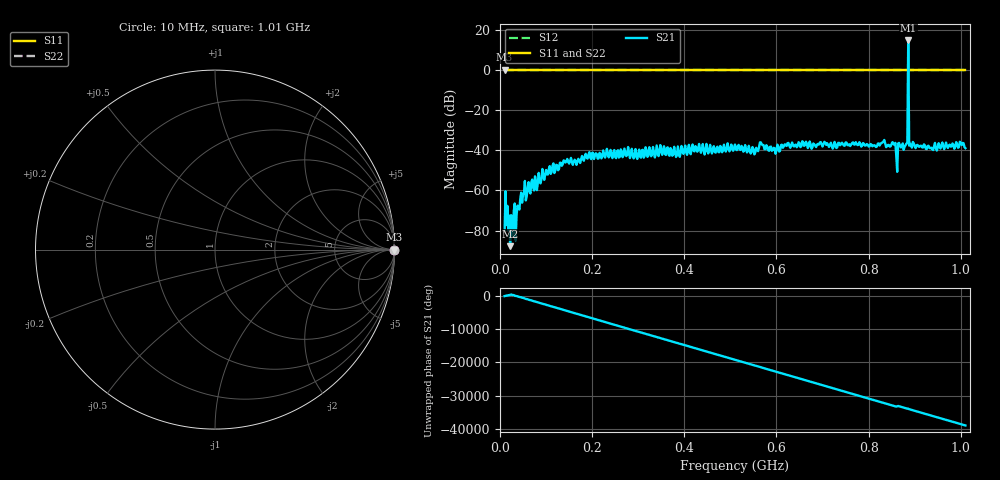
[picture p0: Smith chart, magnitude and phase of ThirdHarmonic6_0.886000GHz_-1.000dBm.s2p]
! 8/16/2025 5:09:26 AM
! C:\ANRITSUVNA\TEMP\TEMP.S2P
! CHANNEL.1
! TR.MEASUREMENT
! RAW.DATA
! RF.CORRECTION.OFF
! AVERAGING.OFF
! IF.BANDWIDTH: 5KHZ
! SWEEPTYPE:  FREQ.SWEEP(Linear)
! Reference Plane Port Info
! PORT:  PORT1  PORT2
! DISTANCE:  0  m  0  m
! TIME:  0  s  0  s
! PHASE.OFFSET:  0  deg.  0  deg.
! LOSS:  0  dB  0  dB
! REF.LOSS:  0  dB  0  dB
! REF.FREQ:  0  Hz  0  Hz
! Power Info
! POWER:  -20  dBm  -20  dBm
! EFF.POWER:  -20  dBm  -20  dBm
! SOURCE.ATTEN:  0  dB  0  dB
! TEST.ATTEN:  0  dB  0  dB
# GHZ S RI R 50.0
! FREQ.GHZ  S11RE  S11IM  S21RE  S21IM  S12RE  S12IM  S22RE  S22IM
!; PortSelection: Port_12
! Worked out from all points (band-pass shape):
!   501 points, 10 MHz to 1.01 GHz, reference 50 ohm
!   highest |S21| = 14.61 dB at 886 MHz (marker M1); lowest = -87.8 dB at 22 MHz (marker M2)
!   |S21| within 3 dB of the highest: 885.8826 MHz to 886.1147 MHz (232.1 kHz wide, 0.0262 % of centre)
!   lowest |S11| = 0.0 dB at 10 MHz (marker M3)
!   |S11| at or under -10 dB: nowhere
!   |S22| runs from 0.0 to 0.0 dB; largest |S21 - S12| = 5.3
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0.01  1 0  -8.7e-05 -3.7e-05  1 0  1 0
0.016  1 0  0.000382 -0.000156  1 0  1 0
0.018  1 0  -4.65e-05 9.2e-05  1 0  1 0
0.022  1 0  -2.8e-05 -2.99e-05  1 0  1 0
0.038  1 0  -0.00033 0.000258  1 0  1 0
0.05  1 0  0.000496 0.000612  1 0  1 0
0.072  1 0  -0.0011 0.000396  1 0  1 0
0.142  1 0  -0.00415 -0.00267  1 0  1 0
0.178  1 0  -0.00674 -0.00247  1 0  1 0
0.344  1 0  0.00713 0.000316  1 0  1 0
0.51  1 0  -0.0138 0.000226  1 0  1 0
0.678  1 0  0.0029 -0.0114  1 0  1 0
0.844  1 0  -0.000737 0.0135  1 0  1 0
0.854  1 0  0.00905 0.0111  1 0  1 0
0.864  1 0  0.0146 0.00144  1 0  1 0
0.868  1 0  -0.012 -0.00497  1 0  1 0
0.88  1 0  -0.00122 0.0131  1 0  1 0
0.882  1 0  0.0145 0.00267  1 0  1 0
0.886  1 0  0.7196 -5.326  1 0  1 0
0.89  1 0  0.0108 0.00982  1 0  1 0
0.892  1 0  0.00954 -0.0085  1 0  1 0
1.01  1 0  0.00368 -0.0106  1 0  1 0
